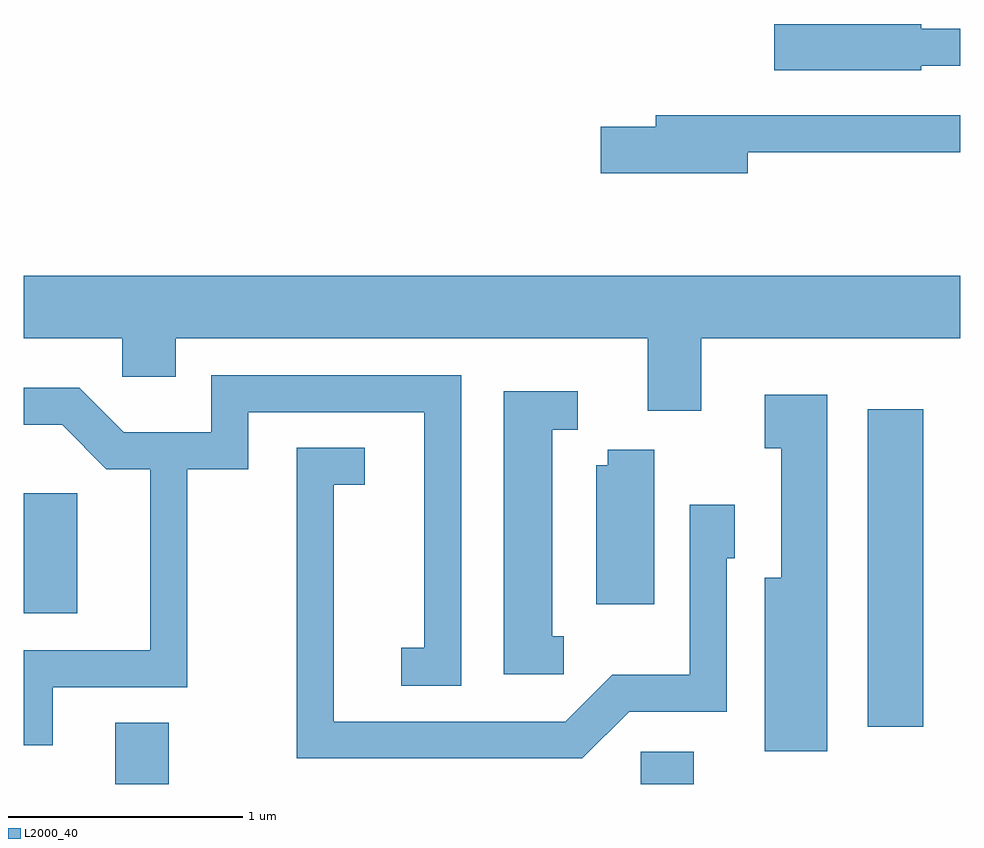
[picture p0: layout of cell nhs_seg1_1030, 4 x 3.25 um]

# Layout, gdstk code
import gdstk
lib = gdstk.Library(unit=1e-6, precision=1e-09)
def R(c, l, rs):  # rectangles x0, y0, x1, y1
    for r in rs: c.add(gdstk.rectangle(r[:2], r[2:], *l))
def P(c, l, *ps):  # polygons
    for p in ps: c.add(gdstk.Polygon(p, *l))
L2000_40 = (2000, 40)

nhs_seg1_1030 = lib.new_cell('nhs_seg1_1030')
R(nhs_seg1_1030, L2000_40, [(218.001,857.712,218.229,857.974), (220.246,857.712,220.474,857.849), (221.216,857.956,221.454,859.314), (217.611,858.441,217.839,858.954)])
P(nhs_seg1_1030, L2000_40, [(221.444,860.781),(221.611,860.781),(221.611,860.939),(221.444,860.939),(221.444,860.959),(220.816,860.959),(220.816,860.761),(221.444,860.761)],
  [(220.704,860.411),(221.611,860.411),(221.611,860.569),(220.311,860.569),(220.311,860.519),(220.076,860.519),(220.076,860.321),(220.704,860.321)],
  [(220.504,859.616),(221.611,859.616),(221.611,859.884),(217.611,859.884),(217.611,859.616),(218.031,859.616),(218.031,859.451),(218.259,859.451),(218.259,859.616),(220.276,859.616),(220.276,859.306),(220.504,859.306)],
  [(217.734,858.126),(218.309,858.126),(218.309,859.056),(218.569,859.056),(218.569,859.301),(219.321,859.301),(219.321,858.294),(219.223,858.294),(219.223,858.131),(219.479,858.131),(219.479,859.459),(218.411,859.459),(218.411,859.214),(218.037,859.214),(217.847,859.404),(217.611,859.404),(217.611,859.246),(217.774,859.246),(217.964,859.056),(218.151,859.056),(218.151,858.284),(217.611,858.284),(217.611,857.878),(217.734,857.878)],
  [(219.918,858.344),(219.869,858.344),(219.869,859.226),(219.978,859.226),(219.978,859.389),(219.661,859.389),(219.661,858.181),(219.918,858.181)],
  [(221.044,859.374),(220.776,859.374),(220.776,859.146),(220.846,859.146),(220.846,858.594),(220.776,858.594),(220.776,857.851),(221.044,857.851)],
  [(220.197,858.021),(220.614,858.021),(220.614,858.676),(220.649,858.676),(220.649,858.904),(220.456,858.904),(220.456,858.179),(220.124,858.179),(219.924,857.979),(218.934,857.979),(218.934,858.991),(219.068,858.991),(219.068,859.149),(218.776,859.149),(218.776,857.821),(219.997,857.821)],
  [(220.304,859.139),(220.106,859.139),(220.106,859.074),(220.056,859.074),(220.056,858.481),(220.304,858.481)])

lib.write_gds('nhs_seg1_1030.gds')
